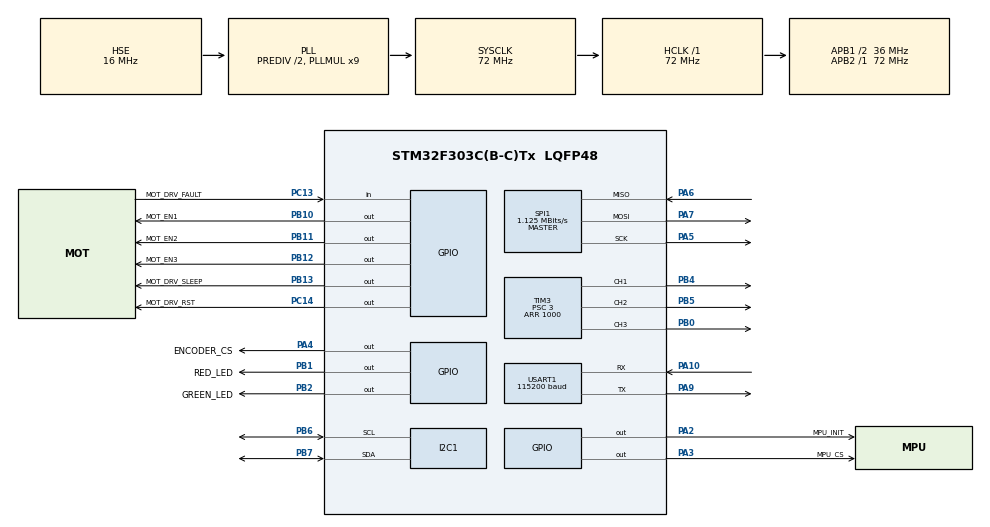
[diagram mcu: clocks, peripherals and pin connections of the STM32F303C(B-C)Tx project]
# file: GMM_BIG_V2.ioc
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Dma.I2C1_RX.2.Direction=DMA_PERIPH_TO_MEMORY
Dma.I2C1_RX.2.Instance=DMA1_Channel7
Dma.I2C1_RX.2.MemDataAlignment=DMA_MDATAALIGN_BYTE
Dma.I2C1_RX.2.MemInc=DMA_MINC_ENABLE
Dma.I2C1_RX.2.Mode=DMA_NORMAL
Dma.I2C1_RX.2.PeriphDataAlignment=DMA_PDATAALIGN_BYTE
Dma.I2C1_RX.2.PeriphInc=DMA_PINC_DISABLE
Dma.I2C1_RX.2.Priority=DMA_PRIORITY_MEDIUM
Dma.I2C1_TX.3.Direction=DMA_MEMORY_TO_PERIPH
Dma.I2C1_TX.3.Instance=DMA1_Channel6
Dma.I2C1_TX.3.MemDataAlignment=DMA_MDATAALIGN_BYTE
Dma.I2C1_TX.3.MemInc=DMA_MINC_ENABLE
Dma.I2C1_TX.3.Mode=DMA_NORMAL
Dma.I2C1_TX.3.PeriphDataAlignment=DMA_PDATAALIGN_BYTE
Dma.I2C1_TX.3.PeriphInc=DMA_PINC_DISABLE
Dma.I2C1_TX.3.Priority=DMA_PRIORITY_MEDIUM
Dma.Request0=SPI1_RX
Dma.Request1=SPI1_TX
Dma.Request2=I2C1_RX
Dma.Request3=I2C1_TX
Dma.Request4=USART1_RX
Dma.SPI1_RX.0.Direction=DMA_PERIPH_TO_MEMORY
Dma.SPI1_RX.0.Instance=DMA1_Channel2
Dma.SPI1_RX.0.MemDataAlignment=DMA_MDATAALIGN_HALFWORD
Dma.SPI1_RX.0.MemInc=DMA_MINC_ENABLE
Dma.SPI1_RX.0.Mode=DMA_NORMAL
Dma.SPI1_RX.0.PeriphDataAlignment=DMA_PDATAALIGN_HALFWORD
Dma.SPI1_RX.0.PeriphInc=DMA_PINC_DISABLE
Dma.SPI1_RX.0.Priority=DMA_PRIORITY_MEDIUM
Dma.SPI1_TX.1.Direction=DMA_MEMORY_TO_PERIPH
Dma.SPI1_TX.1.Instance=DMA1_Channel3
Dma.SPI1_TX.1.MemDataAlignment=DMA_MDATAALIGN_HALFWORD
Dma.SPI1_TX.1.MemInc=DMA_MINC_ENABLE
Dma.SPI1_TX.1.Mode=DMA_NORMAL
Dma.SPI1_TX.1.PeriphDataAlignment=DMA_PDATAALIGN_HALFWORD
Dma.SPI1_TX.1.PeriphInc=DMA_PINC_DISABLE
Dma.SPI1_TX.1.Priority=DMA_PRIORITY_MEDIUM
Dma.USART1_RX.4.Direction=DMA_PERIPH_TO_MEMORY
Dma.USART1_RX.4.Instance=DMA1_Channel5
Dma.USART1_RX.4.MemDataAlignment=DMA_MDATAALIGN_BYTE
Dma.USART1_RX.4.MemInc=DMA_MINC_ENABLE
Dma.USART1_RX.4.Mode=DMA_NORMAL
Dma.USART1_RX.4.PeriphDataAlignment=DMA_PDATAALIGN_BYTE
Dma.USART1_RX.4.PeriphInc=DMA_PINC_DISABLE
Dma.USART1_RX.4.Priority=DMA_PRIORITY_MEDIUM
FREERTOS.Tasks01=defaultTask,0,128,StartDefaultTask,Default,NULL,Dynamic,NULL,NULL
FREERTOS.Timers01=BroadcastTimer,BroadcastTimer_Callback,osTimerPeriodic,Default,NULL,Static,BroadcastTimerControlBlock
FREERTOS.configUSE_TIMERS=1
Mcu.Family=STM32F3
Mcu.Name=STM32F303C(B-C)Tx
Mcu.Package=LQFP48
NVIC.DMA1_Channel2_IRQn=true\:0\:0\:false\:false\:true\:true\:false\:true
NVIC.DMA1_Channel3_IRQn=true\:0\:0\:false\:false\:true\:true\:false\:true
NVIC.DMA1_Channel5_IRQn=true\:0\:0\:false\:false\:true\:true\:false\:true
NVIC.DMA1_Channel6_IRQn=true\:0\:0\:false\:false\:true\:true\:false\:true
NVIC.DMA1_Channel7_IRQn=true\:0\:0\:false\:false\:true\:true\:false\:true
NVIC.I2C1_ER_IRQn=true\:0\:0\:false\:false\:true\:true\:true\:true
NVIC.I2C1_EV_IRQn=true\:0\:0\:false\:false\:true\:true\:true\:true
NVIC.PriorityGroup=NVIC_PRIORITYGROUP_4
NVIC.SPI1_IRQn=true\:0\:0\:false\:false\:true\:true\:true\:true
NVIC.TIM1_UP_TIM16_IRQn=true\:0\:0\:false\:false\:true\:false\:false\:true
NVIC.TIM4_IRQn=true\:0\:0\:false\:false\:true\:true\:true\:true
NVIC.TimeBase=TIM1_UP_TIM16_IRQn
NVIC.TimeBaseIP=TIM1
NVIC.USART1_IRQn=true\:0\:0\:false\:false\:true\:true\:true\:true
PA10.Mode=Asynchronous
PA10.Signal=USART1_RX
PA13.Mode=Serial_Wire
PA13.Signal=SYS_JTMS-SWDIO
PA14.Mode=Serial_Wire
PA14.Signal=SYS_JTCK-SWCLK
PA2.GPIO_Label=MPU_INIT
PA2.Signal=GPIO_Output
PA3.GPIO_Label=MPU_CS
PA3.Signal=GPIO_Output
PA4.GPIO_Label=ENCODER_CS
PA4.Signal=GPIO_Output
PA5.Mode=Full_Duplex_Master
PA5.Signal=SPI1_SCK
PA6.Mode=Full_Duplex_Master
PA6.Signal=SPI1_MISO
PA7.Mode=Full_Duplex_Master
PA7.Signal=SPI1_MOSI
PA9.Mode=Asynchronous
PA9.Signal=USART1_TX
PB0.Signal=S_TIM3_CH3
PB1.GPIO_Label=RED_LED
PB1.Signal=GPIO_Output
PB10.GPIO_Label=MOT_EN1
PB10.Signal=GPIO_Output
PB11.GPIO_Label=MOT_EN2
PB11.Signal=GPIO_Output
PB12.GPIO_Label=MOT_EN3
PB12.Signal=GPIO_Output
PB13.GPIO_Label=MOT_DRV_SLEEP
PB13.Signal=GPIO_Output
PB2.GPIO_Label=GREEN_LED
PB2.Signal=GPIO_Output
PB4.Signal=S_TIM3_CH1
PB5.Signal=S_TIM3_CH2
PB6.Mode=I2C
PB6.Signal=I2C1_SCL
PB7.Mode=I2C
PB7.Signal=I2C1_SDA
PC13.GPIO_Label=MOT_DRV_FAULT
PC13.Signal=GPIO_Input
PC14-OSC32_IN.GPIO_Label=MOT_DRV_RST
PC14-OSC32_IN.Signal=GPIO_Output
PF0-OSC_IN.Mode=HSE-External-Oscillator
PF0-OSC_IN.Signal=RCC_OSC_IN
PF1-OSC_OUT.Mode=HSE-External-Oscillator
PF1-OSC_OUT.Signal=RCC_OSC_OUT
ProjectManager.HeapSize=0x200
ProjectManager.StackSize=0x400
ProjectManager.TargetToolchain=STM32CubeIDE
RCC.AHBFreq_Value=72000000
RCC.APB1CLKDivider=RCC_HCLK_DIV2
RCC.APB1Freq_Value=36000000
RCC.APB1TimFreq_Value=72000000
RCC.APB2Freq_Value=72000000
RCC.APB2TimFreq_Value=72000000
RCC.CortexFreq_Value=72000000
RCC.HCLKFreq_Value=72000000
RCC.HSE_VALUE=16000000
RCC.HSI_VALUE=8000000
RCC.LSE_VALUE=32768
RCC.PLLMUL=RCC_PLL_MUL9
RCC.PLLSourceVirtual=RCC_PLLSOURCE_HSE
RCC.RCC_PLLsource_Clock_Source_FROM_HSE=RCC_HSE_PREDIV_DIV2
RCC.SYSCLKFreq_VALUE=72000000
RCC.SYSCLKSourceVirtual=RCC_SYSCLKSOURCE_PLLCLK
RCC.USBFreq_Value=72000000
SH.S_TIM3_CH1.0=TIM3_CH1,PWM Generation1 CH1
SH.S_TIM3_CH2.0=TIM3_CH2,PWM Generation2 CH2
SH.S_TIM3_CH3.0=TIM3_CH3,PWM Generation3 CH3
SPI1.BaudRatePrescaler=SPI_BAUDRATEPRESCALER_64
SPI1.CLKPhase=SPI_PHASE_2EDGE
SPI1.CalculateBaudRate=1.125 MBits/s
SPI1.DataSize=SPI_DATASIZE_16BIT
SPI1.Direction=SPI_DIRECTION_2LINES
SPI1.Mode=SPI_MODE_MASTER
SPI1.VirtualType=VM_MASTER
TIM3.Channel-PWM\ Generation1\ CH1=TIM_CHANNEL_1
TIM3.Channel-PWM\ Generation2\ CH2=TIM_CHANNEL_2
TIM3.Channel-PWM\ Generation3\ CH3=TIM_CHANNEL_3
TIM3.Period=1000
TIM3.Prescaler=3
TIM4.Period=0xffff
TIM4.Prescaler=71
USART1.BaudRate=115200
USART1.VirtualMode-Asynchronous=VM_ASYNC
VP_FREERTOS_VS_CMSIS_V1.Mode=CMSIS_V1
VP_SYS_VS_tim1.Mode=TIM1
VP_TIM3_VS_ClockSourceINT.Mode=Internal
VP_TIM4_VS_ClockSourceINT.Mode=Internal
board=custom

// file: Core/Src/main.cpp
/* USER CODE BEGIN Header */
/**
  ******************************************************************************
  * @file           : main.c
  * @brief          : Main program body
  ******************************************************************************
  * @attention
  *
  * <h2><center>&copy; Copyright (c) 2020 STMicroelectronics.
  * All rights reserved.</center></h2>
  *
  * This software component is licensed by ST under Ultimate Liberty license
  * SLA0044, the "License"; You may not use this file except in compliance with
  * the License. You may obtain a copy of the License at:
  *                             www.st.com/SLA0044
  *
  ******************************************************************************
  */
/* USER CODE END Header */

#include "main.h"
#include "cmsis_os.h"

/* USER CODE BEGIN Includes */

/**
 * @brief UAVCAN headers
 */
#include <uavcan_stm32/uavcan_stm32.hpp>
#include <uavcan/uavcan.hpp>

#include <uavcan/protocol/param_server.hpp>

#include <msg/MotorStatus.hpp>
#include <msg/MotorCommand.hpp>

#include "as5048a.h"
/* USER CODE END Includes */

/* USER CODE BEGIN PD */
#define MAIN_EVENT_SAVE_CONFIG	( 1 << 0 )
#define MAIN_EVENT_BROADCAST    ( 1 << 1 )
/* USER CODE END PD */

I2C_HandleTypeDef hi2c1;
DMA_HandleTypeDef hdma_i2c1_rx;
DMA_HandleTypeDef hdma_i2c1_tx;

SPI_HandleTypeDef hspi1;
DMA_HandleTypeDef hdma_spi1_rx;
DMA_HandleTypeDef hdma_spi1_tx;

TIM_HandleTypeDef htim3;
TIM_HandleTypeDef htim4;

UART_HandleTypeDef huart1;
DMA_HandleTypeDef hdma_usart1_rx;

osThreadId defaultTaskHandle;
osTimerId BroadcastTimerHandle;
osStaticTimerDef_t BroadcastTimerControlBlock;
/* USER CODE BEGIN PV */
/* Declare a variable to hold the handle of the created event group. */
EventGroupHandle_t xMainEventGroupHandle;

/* Declare a variable to hold the data associated with the created
event group. */
StaticEventGroup_t xMainEventGroup;
/* USER CODE END PV */

void SystemClock_Config(void);
static void MX_GPIO_Init(void);
static void MX_DMA_Init(void);
static void MX_I2C1_Init(void);
static void MX_SPI1_Init(void);
static void MX_TIM3_Init(void);
static void MX_TIM4_Init(void);
static void MX_USART1_UART_Init(void);
void StartDefaultTask(void const * argument);
void BroadcastTimer_Callback(void const * argument);

/* USER CODE BEGIN 0 */

/**
 * @brief Initialization of UAVCAN Parameters structure
 * @note for first time flash board strore initial parameters in the memory and change them while you need them
 */
struct Parameters configuration = {false, 1, 2.0f, false, 7, 1, 0.2f, 20.0f, 1000.0f, 0.01f, 0.0f, 0, 5};

/**
 * @brief NDEBUG for SWO IDE debuging
 */
/*
#ifndef NDEBUG // Set up printf over SWO (use SWV ITM Viewer window)
  // https://github.com/ethanhuanginst/STM32CubeIDE-Workshop-2019/blob/master/hands-on/03_printf/printf_over_swo.md
  #ifdef __GNUC__
    #define PUTCHAR_PROTOTYPE int __io_putchar(int ch)
  #else
    #define PUTCHAR_PROTOTYPE int fputc(int ch, FILE *f)
  #endif // __GNUC__
  */
/**
 * @brief Retargets the C library printf function to the USART.
 * @param None
 * @retval None
 */
/*
  PUTCHAR_PROTOTYPE {
    //HAL_UART_Transmit(&huart1, (uint8_t *)&ch, 1, 0xFFFF);
      ITM_SendChar((uint32_t)ch);
    return ch;
  }
#endif
*/

/**
 * @brief Retargets the C library printf function to the USART.
 */
#ifdef __GNUC__
	#define PUTCHAR_PROTOTYPE int __io_putchar(int ch)
#else
	#define PUTCHAR_PROTOTYPE int std::fputc(int ch, FILE *f)
#endif /* __GNUC__ */

#ifdef __cplusplus
 extern "C" {
#endif
PUTCHAR_PROTOTYPE {
	/* Place your implementation of fputc here */
    /* e.g. write a character to the USART2 and Loop until the end of transmission */
    HAL_UART_Transmit(&huart1, (uint8_t *)&ch, 1, 0xFFFF);
    return ch;
}
#ifdef __cplusplus
}
#endif

/**
 * @brief Static thread for UAVCAN.
 * @note check in the main for a new thread call function
 */
#define CAN_THRAD_STACK_SIZE 1024
uint32_t defaultTaskBuffer[ CAN_THRAD_STACK_SIZE ];
osStaticThreadDef_t defaultTaskControlBlock;
#define CAN_STACK_SIZE 1024
uint32_t defaultTaskBuffer1[ CAN_STACK_SIZE ];
osStaticThreadDef_t defaultTaskControlBlock1;
/**
 * @brief AS5048A Magnetic encoder constructor
 * @param - SPI reference
 * @param - CS pin port
 * @param - CS pin number
 * @param - Timer reference for miliseconds
 */
AS5048A angleSensor(&hspi1, GPIOA, GPIO_PIN_4, &htim4);

/**
 * @brief TI DRV8313 and Field Orientation Control method constructor
 * @note Initial motor 11 poles pairs
 * @param - initial pole number
 * @param - Motor PWM timer reference
 * @note  - Hard coded Motor Driver Enable and Disable. Different drivers uses different approach to enable PWM's.
 * @note Motor Control thread declaration
 */
BLDCMotor myBLDC(&htim3, &htim4); //motor pole number
void StartMotorTask(void const * argument);

/**
 *	@brief Motor Calibration. Finding number of poles
 *	@note Founded pole number is written into EEPROM for the UAVCAN param usage
 */
osThreadId MotorCalibrateTaskHandle;
void StartMotorCalibrateTask(void const * argument);

/**
 *	@brief EEPROM memory constructor
 */
EEPROM myEEPROM(&hi2c1);

/**
 *	@brief INA226 voltage, current and power measurement constructor
 */
//INA226 myINA226(&hi2c1);

/**
 *	@brief UAVCAN pool inicialization with 8192 memory
 */
constexpr unsigned NodePoolSize = 8192;
uavcan_stm32::CanInitHelper<> can;
uavcan::Node<NodePoolSize>& getNode() {
    static uavcan::Node<NodePoolSize> node(can.driver, uavcan_stm32::SystemClock::instance());
    return node;
}

/**
 * @brief Converting float to Uint8_t and back
 */
typedef union
{
 float number;
 uint8_t bytes[4];
} FLOATUNION_t;

FLOATUNION_t num[6];

/**
 * @brief CAN Status SPIN thread
 */
void StartCANStatusTask(void const * argument);

/**
 *	@brief UART receiver callback for testing values acceptance
 *	@note At final version will be removed
 *	@note Accepts as HEX and only integer values. HEX 30 -> 0, HEX 31 -> 1, HEX 2F -> -1 and etc.
 *
 */
/*
uint8_t str[1];
float target_voltage = 4;
uint8_t update_target = 0;
void HAL_UART_RxCpltCallback(UART_HandleTypeDef *huart) {
	if(huart->Instance==USART1) {
		HAL_UART_Receive_DMA(&huart1, (uint8_t*) str, 1);
		target_voltage = str[0]-'0';
		update_target = 1;
	}
}
*/

/* USER CODE END 0 */

int main(void)
{

  /* MCU Configuration--------------------------------------------------------*/

  /* Reset of all peripherals, Initializes the Flash interface and the Systick. */
  HAL_Init();

  /* Configure the system clock */
  SystemClock_Config();

  /* Initialize all configured peripherals */
  MX_GPIO_Init();
  MX_DMA_Init();
  MX_I2C1_Init();
  MX_SPI1_Init();
  MX_TIM3_Init();
  MX_TIM4_Init();
  MX_USART1_UART_Init();
  /* USER CODE BEGIN 2 */

  /**
   * @brief Timer initialization for microsecond tics
   */
  HAL_TIM_Base_Start_IT(&htim4);

  /**
   * @brief CAN ports initialization for the UAVCAN
   * @note It is prohibited to use direct HALCubeMX configurattion
   *
   * @note CAN1 GPIO Configuration
   * @note PB8     ------> CAN1_RX
   * @note PB9     ------> CAN1_TX
   */
  GPIO_InitTypeDef GPIO_InitStruct = {0};

  __HAL_RCC_CAN1_CLK_ENABLE();
  __HAL_RCC_GPIOB_CLK_ENABLE();

  GPIO_InitStruct.Pin = GPIO_PIN_8|GPIO_PIN_9;
  GPIO_InitStruct.Mode = GPIO_MODE_AF_PP;
  GPIO_InitStruct.Pull = GPIO_NOPULL;
  GPIO_InitStruct.Speed = GPIO_SPEED_FREQ_HIGH;
  GPIO_InitStruct.Alternate = GPIO_AF9_CAN;
  HAL_GPIO_Init(GPIOB, &GPIO_InitStruct);

  /**
   *  @brief Initial GPIO ports SET high for the SPI usage
   *  @note MPU9250 blocks Encoder usage if it's CS pin is not set to high
   */
  HAL_GPIO_WritePin(ENCODER_CS_GPIO_Port, ENCODER_CS_Pin, GPIO_PIN_SET);
  HAL_GPIO_WritePin(MPU_CS_GPIO_Port, MPU_CS_Pin, GPIO_PIN_SET);
  HAL_GPIO_WritePin(MPU_INIT_GPIO_Port, MPU_INIT_Pin, GPIO_PIN_RESET);

  /* USER CODE END 2 */

  /* Create the timer(s) */
  /* definition and creation of BroadcastTimer */
  osTimerStaticDef(BroadcastTimer, BroadcastTimer_Callback, &BroadcastTimerControlBlock);
  BroadcastTimerHandle = osTimerCreate(osTimer(BroadcastTimer), osTimerPeriodic, NULL);

  /* Create the thread(s) */
  /* definition and creation of defaultTask */

  /* Attempt to create the event group. */
  xMainEventGroupHandle = xEventGroupCreateStatic( &xMainEventGroup );

  /* pxEventGroupBuffer was not null so expect the event group to have
  been created? */
  configASSERT( xMainEventGroupHandle );

  /**
   * @brief Static thread for UAVCAN.
   * @note old one left as example
   */
  //osThreadDef(defaultTask, StartDefaultTask, osPriorityNormal, 0, 128);
  osThreadStaticDef(defaultTask, StartDefaultTask, osPriorityNormal, 0, CAN_THRAD_STACK_SIZE, defaultTaskBuffer, &defaultTaskControlBlock);
  defaultTaskHandle = osThreadCreate(osThread(defaultTask), NULL);

  /* Start scheduler */
  osKernelStart();

  /* We should never get here as control is now taken by the scheduler */
  /* Infinite loop */
  while (1)
  {

  }
}

void SystemClock_Config(void)
{
  RCC_OscInitTypeDef RCC_OscInitStruct = {0};
  RCC_ClkInitTypeDef RCC_ClkInitStruct = {0};
  RCC_PeriphCLKInitTypeDef PeriphClkInit = {0};

  /** Initializes the RCC Oscillators according to the specified parameters
  * in the RCC_OscInitTypeDef structure.
  */
  RCC_OscInitStruct.OscillatorType = RCC_OSCILLATORTYPE_HSI|RCC_OSCILLATORTYPE_HSE;
  RCC_OscInitStruct.HSEState = RCC_HSE_ON;
  RCC_OscInitStruct.HSEPredivValue = RCC_HSE_PREDIV_DIV2;
  RCC_OscInitStruct.HSIState = RCC_HSI_ON;
  RCC_OscInitStruct.HSICalibrationValue = RCC_HSICALIBRATION_DEFAULT;
  RCC_OscInitStruct.PLL.PLLState = RCC_PLL_ON;
  RCC_OscInitStruct.PLL.PLLSource = RCC_PLLSOURCE_HSE;
  RCC_OscInitStruct.PLL.PLLMUL = RCC_PLL_MUL9;
  if (HAL_RCC_OscConfig(&RCC_OscInitStruct) != HAL_OK)
  {
    Error_Handler();
  }
  /** Initializes the CPU, AHB and APB buses clocks
  */
  RCC_ClkInitStruct.ClockType = RCC_CLOCKTYPE_HCLK|RCC_CLOCKTYPE_SYSCLK
                              |RCC_CLOCKTYPE_PCLK1|RCC_CLOCKTYPE_PCLK2;
  RCC_ClkInitStruct.SYSCLKSource = RCC_SYSCLKSOURCE_PLLCLK;
  RCC_ClkInitStruct.AHBCLKDivider = RCC_SYSCLK_DIV1;
  RCC_ClkInitStruct.APB1CLKDivider = RCC_HCLK_DIV2;
  RCC_ClkInitStruct.APB2CLKDivider = RCC_HCLK_DIV1;

  if (HAL_RCC_ClockConfig(&RCC_ClkInitStruct, FLASH_LATENCY_2) != HAL_OK)
  {
    Error_Handler();
  }
  PeriphClkInit.PeriphClockSelection = RCC_PERIPHCLK_USART1|RCC_PERIPHCLK_I2C1;
  PeriphClkInit.Usart1ClockSelection = RCC_USART1CLKSOURCE_PCLK2;
  PeriphClkInit.I2c1ClockSelection = RCC_I2C1CLKSOURCE_HSI;
  if (HAL_RCCEx_PeriphCLKConfig(&PeriphClkInit) != HAL_OK)
  {
    Error_Handler();
  }
}

static void MX_I2C1_Init(void)
{

  hi2c1.Instance = I2C1;
  hi2c1.Init.Timing = 0x2000090E;
  hi2c1.Init.OwnAddress1 = 0;
  hi2c1.Init.AddressingMode = I2C_ADDRESSINGMODE_7BIT;
  hi2c1.Init.DualAddressMode = I2C_DUALADDRESS_DISABLE;
  hi2c1.Init.OwnAddress2 = 0;
  hi2c1.Init.OwnAddress2Masks = I2C_OA2_NOMASK;
  hi2c1.Init.GeneralCallMode = I2C_GENERALCALL_DISABLE;
  hi2c1.Init.NoStretchMode = I2C_NOSTRETCH_DISABLE;
  if (HAL_I2C_Init(&hi2c1) != HAL_OK)
  {
    Error_Handler();
  }
  /** Configure Analogue filter
  */
  if (HAL_I2CEx_ConfigAnalogFilter(&hi2c1, I2C_ANALOGFILTER_ENABLE) != HAL_OK)
  {
    Error_Handler();
  }
  /** Configure Digital filter
  */
  if (HAL_I2CEx_ConfigDigitalFilter(&hi2c1, 0) != HAL_OK)
  {
    Error_Handler();
  }

}

static void MX_SPI1_Init(void)
{

  /* SPI1 parameter configuration*/
  hspi1.Instance = SPI1;
  hspi1.Init.Mode = SPI_MODE_MASTER;
  hspi1.Init.Direction = SPI_DIRECTION_2LINES;
  hspi1.Init.DataSize = SPI_DATASIZE_16BIT;
  hspi1.Init.CLKPolarity = SPI_POLARITY_LOW;
  hspi1.Init.CLKPhase = SPI_PHASE_2EDGE;
  hspi1.Init.NSS = SPI_NSS_SOFT;
  hspi1.Init.BaudRatePrescaler = SPI_BAUDRATEPRESCALER_64;
  hspi1.Init.FirstBit = SPI_FIRSTBIT_MSB;
  hspi1.Init.TIMode = SPI_TIMODE_DISABLE;
  hspi1.Init.CRCCalculation = SPI_CRCCALCULATION_DISABLE;
  hspi1.Init.CRCPolynomial = 7;
  hspi1.Init.CRCLength = SPI_CRC_LENGTH_DATASIZE;
  hspi1.Init.NSSPMode = SPI_NSS_PULSE_DISABLE;
  if (HAL_SPI_Init(&hspi1) != HAL_OK)
  {
    Error_Handler();
  }

}

static void MX_TIM3_Init(void)
{

  TIM_ClockConfigTypeDef sClockSourceConfig = {0};
  TIM_MasterConfigTypeDef sMasterConfig = {0};
  TIM_OC_InitTypeDef sConfigOC = {0};

  htim3.Instance = TIM3;
  htim3.Init.Prescaler = 3;
  htim3.Init.CounterMode = TIM_COUNTERMODE_UP;
  htim3.Init.Period = 1000;
  htim3.Init.ClockDivision = TIM_CLOCKDIVISION_DIV1;
  htim3.Init.AutoReloadPreload = TIM_AUTORELOAD_PRELOAD_DISABLE;
  if (HAL_TIM_Base_Init(&htim3) != HAL_OK)
  {
    Error_Handler();
  }
  sClockSourceConfig.ClockSource = TIM_CLOCKSOURCE_INTERNAL;
  if (HAL_TIM_ConfigClockSource(&htim3, &sClockSourceConfig) != HAL_OK)
  {
    Error_Handler();
  }
  if (HAL_TIM_PWM_Init(&htim3) != HAL_OK)
  {
    Error_Handler();
  }
  sMasterConfig.MasterOutputTrigger = TIM_TRGO_RESET;
  sMasterConfig.MasterSlaveMode = TIM_MASTERSLAVEMODE_DISABLE;
  if (HAL_TIMEx_MasterConfigSynchronization(&htim3, &sMasterConfig) != HAL_OK)
  {
    Error_Handler();
  }
  sConfigOC.OCMode = TIM_OCMODE_PWM1;
  sConfigOC.Pulse = 0;
  sConfigOC.OCPolarity = TIM_OCPOLARITY_HIGH;
  sConfigOC.OCFastMode = TIM_OCFAST_DISABLE;
  if (HAL_TIM_PWM_ConfigChannel(&htim3, &sConfigOC, TIM_CHANNEL_1) != HAL_OK)
  {
    Error_Handler();
  }
  if (HAL_TIM_PWM_ConfigChannel(&htim3, &sConfigOC, TIM_CHANNEL_2) != HAL_OK)
  {
    Error_Handler();
  }
  if (HAL_TIM_PWM_ConfigChannel(&htim3, &sConfigOC, TIM_CHANNEL_3) != HAL_OK)
  {
    Error_Handler();
  }
  HAL_TIM_MspPostInit(&htim3);

}

static void MX_TIM4_Init(void)
{

  TIM_ClockConfigTypeDef sClockSourceConfig = {0};
  //TIM_MasterConfigTypeDef sMasterConfig = {0};

  /* USER CODE BEGIN TIM4_Init 1 */

  /**
   * @brief Timer configuration for the microsecond tics
   * @note 72 Prescaler as APB is configured for 72
   * @note MAX_UINT16_NUMBER uses 0XFFFF from AS5048A.h
   * @note some lines are commented from generated by STMCubeMX
   *   //sMasterConfig.MasterOutputTrigger = TIM_TRGO_RESET;
   *   //sMasterConfig.MasterSlaveMode = TIM_MASTERSLAVEMODE_DISABLE;
   *   //if (HAL_TIMEx_MasterConfigSynchronization(&htim4, &sMasterConfig) != HAL_OK)
   *   //{
   *   //  Error_Handler();
   *   //}
   */

  /* USER CODE END TIM4_Init 1 */
  htim4.Instance = TIM4;
  htim4.Init.Prescaler = 72;
  htim4.Init.CounterMode = TIM_COUNTERMODE_UP;
  htim4.Init.Period = MAX_UINT16_NUMBER;
  htim4.Init.ClockDivision = TIM_CLOCKDIVISION_DIV1;
  htim4.Init.AutoReloadPreload = TIM_AUTORELOAD_PRELOAD_DISABLE;
  if (HAL_TIM_Base_Init(&htim4) != HAL_OK)
  {
    Error_Handler();
  }
  sClockSourceConfig.ClockSource = TIM_CLOCKSOURCE_INTERNAL;
  if (HAL_TIM_ConfigClockSource(&htim4, &sClockSourceConfig) != HAL_OK)
  {
    Error_Handler();
  }
  //sMasterConfig.MasterOutputTrigger = TIM_TRGO_RESET;
  //sMasterConfig.MasterSlaveMode = TIM_MASTERSLAVEMODE_DISABLE;
  //if (HAL_TIMEx_MasterConfigSynchronization(&htim4, &sMasterConfig) != HAL_OK)
  //{
  //  Error_Handler();
  //}

}

static void MX_USART1_UART_Init(void)
{

  huart1.Instance = USART1;
  huart1.Init.BaudRate = 115200;
  huart1.Init.WordLength = UART_WORDLENGTH_8B;
  huart1.Init.StopBits = UART_STOPBITS_1;
  huart1.Init.Parity = UART_PARITY_NONE;
  huart1.Init.Mode = UART_MODE_TX_RX;
  huart1.Init.HwFlowCtl = UART_HWCONTROL_NONE;
  huart1.Init.OverSampling = UART_OVERSAMPLING_16;
  huart1.Init.OneBitSampling = UART_ONE_BIT_SAMPLE_DISABLE;
  huart1.AdvancedInit.AdvFeatureInit = UART_ADVFEATURE_NO_INIT;
  if (HAL_UART_Init(&huart1) != HAL_OK)
  {
    Error_Handler();
  }

}

static void MX_DMA_Init(void)
{

  /* DMA controller clock enable */
  __HAL_RCC_DMA1_CLK_ENABLE();

  /* DMA interrupt init */
  /* DMA1_Channel2_IRQn interrupt configuration */
  HAL_NVIC_SetPriority(DMA1_Channel2_IRQn, 5, 0);
  HAL_NVIC_EnableIRQ(DMA1_Channel2_IRQn);
  /* DMA1_Channel3_IRQn interrupt configuration */
  HAL_NVIC_SetPriority(DMA1_Channel3_IRQn, 5, 0);
  HAL_NVIC_EnableIRQ(DMA1_Channel3_IRQn);
  /* DMA1_Channel5_IRQn interrupt configuration */
  HAL_NVIC_SetPriority(DMA1_Channel5_IRQn, 5, 0);
  HAL_NVIC_EnableIRQ(DMA1_Channel5_IRQn);
  /* DMA1_Channel6_IRQn interrupt configuration */
  HAL_NVIC_SetPriority(DMA1_Channel6_IRQn, 5, 0);
  HAL_NVIC_EnableIRQ(DMA1_Channel6_IRQn);
  /* DMA1_Channel7_IRQn interrupt configuration */
  HAL_NVIC_SetPriority(DMA1_Channel7_IRQn, 5, 0);
  HAL_NVIC_EnableIRQ(DMA1_Channel7_IRQn);

}

static void MX_GPIO_Init(void)
{
  GPIO_InitTypeDef GPIO_InitStruct = {0};

  /* GPIO Ports Clock Enable */
  __HAL_RCC_GPIOC_CLK_ENABLE();
  __HAL_RCC_GPIOF_CLK_ENABLE();
  __HAL_RCC_GPIOA_CLK_ENABLE();
  __HAL_RCC_GPIOB_CLK_ENABLE();

  /*Configure GPIO pin Output Level */
  HAL_GPIO_WritePin(MOT_DRV_RST_GPIO_Port, MOT_DRV_RST_Pin, GPIO_PIN_RESET);

  /*Configure GPIO pin Output Level */
  HAL_GPIO_WritePin(GPIOA, MPU_INIT_Pin|MPU_CS_Pin|ENCODER_CS_Pin, GPIO_PIN_RESET);

  /*Configure GPIO pin Output Level */
  HAL_GPIO_WritePin(GPIOB, RED_LED_Pin|GREEN_LED_Pin|MOT_EN1_Pin|MOT_EN2_Pin
                          |MOT_EN3_Pin|MOT_DRV_SLEEP_Pin, GPIO_PIN_RESET);

  /*Configure GPIO pin : MOT_DRV_FAULT_Pin */
  GPIO_InitStruct.Pin = MOT_DRV_FAULT_Pin;
  GPIO_InitStruct.Mode = GPIO_MODE_INPUT;
  GPIO_InitStruct.Pull = GPIO_NOPULL;
  HAL_GPIO_Init(MOT_DRV_FAULT_GPIO_Port, &GPIO_InitStruct);

  /*Configure GPIO pin : MOT_DRV_RST_Pin */
  GPIO_InitStruct.Pin = MOT_DRV_RST_Pin;
  GPIO_InitStruct.Mode = GPIO_MODE_OUTPUT_PP;
  GPIO_InitStruct.Pull = GPIO_NOPULL;
  GPIO_InitStruct.Speed = GPIO_SPEED_FREQ_LOW;
  HAL_GPIO_Init(MOT_DRV_RST_GPIO_Port, &GPIO_InitStruct);

  /*Configure GPIO pins : MPU_INIT_Pin MPU_CS_Pin ENCODER_CS_Pin */
  GPIO_InitStruct.Pin = MPU_INIT_Pin|MPU_CS_Pin|ENCODER_CS_Pin;
  GPIO_InitStruct.Mode = GPIO_MODE_OUTPUT_PP;
  GPIO_InitStruct.Pull = GPIO_NOPULL;
  GPIO_InitStruct.Speed = GPIO_SPEED_FREQ_LOW;
  HAL_GPIO_Init(GPIOA, &GPIO_InitStruct);

  /*Configure GPIO pins : RED_LED_Pin GREEN_LED_Pin MOT_EN1_Pin MOT_EN2_Pin
                           MOT_EN3_Pin MOT_DRV_SLEEP_Pin */
  GPIO_InitStruct.Pin = RED_LED_Pin|GREEN_LED_Pin|MOT_EN1_Pin|MOT_EN2_Pin
                          |MOT_EN3_Pin|MOT_DRV_SLEEP_Pin;
  GPIO_InitStruct.Mode = GPIO_MODE_OUTPUT_PP;
  GPIO_InitStruct.Pull = GPIO_NOPULL;
  GPIO_InitStruct.Speed = GPIO_SPEED_FREQ_LOW;
  HAL_GPIO_Init(GPIOB, &GPIO_InitStruct);

}

/* USER CODE BEGIN 4 */

/**
 *	@brief Motor Calibration. Finding number of poles
 *	@note Founded pole number is written into EEPROM for the UAVCAN param usage
 *	@note gives wrong value if crosses encoder 0 position. everything works while calculations between 0 and 2_PI
 */
void StartMotorCalibrateTask(void const * argument)
{
  /* USER CODE BEGIN 5 */
	/**
	 * @brief power supply voltage
	 * @note default 12V
	 */
	myBLDC.voltage_power_supply = 12;

	/**
	 * @brief Set FOC loop to be used
	 * @param voltage, velocity, angle
	 */
	myBLDC.controller = ControlType::voltage;
	/**
	 * @brief Set FOC Mathematical algoritm
	 * @note SinePWM or SpaceVectorPWM
	 */
	myBLDC.foc_modulation = FOCModulationType::SinePWM;

	/**
	 * @brief Enable AS5048A Encoder drivers
	 */
	angleSensor.init();

	/**
	 * @brieflink the motor to the sensor
	 * @param Encoder constructor name
	 */
	myBLDC.linkEncoder(&angleSensor);

	/**
	 * @brief Enable DRV8313 and FOC drivers
	 */
	myBLDC.init();

	// pole pairs calculation routine
	//if (DEBUG_MOTOR == 1) printf("Motor pole pair number estimation example\n");
	//if (DEBUG_MOTOR == 1) printf("---------------------------------------------\n");

	float pp_search_voltage = 4; // maximum power_supply_voltage/2

	LOOP:	//not so nice approach. Should be changed to while loop but I am lazy to initialize a pp variable to check condition
	float pp_search_angle = 6*M_PI; // search electrical angle to turn

	// move motor to the electrical angle 0
	myBLDC.setPhaseVoltage(pp_search_voltage,0);
	osDelay(1000);

	// read the sensor angle
	float angle_begin = angleSensor.getAngleInRad();
	osDelay(50);

	// move the motor slowly to the electrical angle pp_search_angle
	float motor_angle = 0;
	while(motor_angle <= pp_search_angle){
		motor_angle += 0.01;
		myBLDC.setPhaseVoltage(pp_search_voltage, motor_angle);
	}
	osDelay(1000);
	// read the sensor value for 180
	float angle_end = angleSensor.getAngleInRad();
	osDelay(50);
	// turn off the motor
	myBLDC.setPhaseVoltage(0,0);
	osDelay(1000);

	// calculate the pole pair number
	uint8_t pp = round((pp_search_angle)/(angle_end-angle_begin));
	taskENTER_CRITICAL();
	configuration.PoleNumber = pp;
	taskEXIT_CRITICAL();

	//if (DEBUG_MOTOR == 1) printf("Estimated pole pairs number is: %d\n", pp);
	//if (DEBUG_MOTOR == 1) printf("Electrical angle / Encoder angle = Pole pairs %f/%f=%f\n", pp_search_angle*180/M_PI, (angle_end-angle_begin)*180/M_PI, (pp_search_angle)/(angle_end-angle_begin));

	// a bit of debugging the result
	if(pp <= 0 ){
		//if (DEBUG_MOTOR == 1) printf("Pole pair number cannot be negative\n");
		//if (DEBUG_MOTOR == 1) printf(" - Try changing the search_voltage value or motor/sensor configuration.\n");
		goto LOOP; // try second time and it will work :)
	}else if(pp > 30){
		//if (DEBUG_MOTOR == 1) printf("Pole pair number very high, possible error.\n");
		goto LOOP; // try second time and it will work :)
	}

	/* Infinite loop */
	for(;;) {

		osDelay(1);
		osThreadTerminate(MotorCalibrateTaskHandle);
	}
}

/**
  * @brief Motor cCntrol Thread
  * @param None
  * @retval None
  */

void StartMotorTask(void const * argument)
{
  /* USER CODE BEGIN 5 */

	bool power = false;
	uint8_t CT = 1;
	uint8_t foc_mod = 0;
	float CV = 0;
	float angles = 0;

	/**
	 * @briefpower supply voltage
	 * @note default 12V
	 */
	myBLDC.voltage_power_supply = 12;

	/**
	 * @brief Enable AS5048A Encoder drivers
	 */
	angleSensor.init();

	/**
	 * @brieflink the motor to the sensor
	 * @param Encoder constructor name
	 */
	myBLDC.linkEncoder(&angleSensor);

	/**
	 * @brief Set FOC Mathematical algoritm
	 * @note SinePWM or SpaceVectorPWM
	 */
	taskENTER_CRITICAL();
	myBLDC.pole_pairs = configuration.PoleNumber;
	foc_mod = configuration.FOCModulation;
	angles = configuration.Angle;
	taskEXIT_CRITICAL();

	if (foc_mod == 0)
		myBLDC.foc_modulation = FOCModulationType::SinePWM;
	if (foc_mod == 1)
		myBLDC.foc_modulation = FOCModulationType::SpaceVectorPWM;

	/**
	 * @brief PI controller configuration based on the control type
	 * @note velocity PI controller parameters
	 */
	taskENTER_CRITICAL();
	myBLDC.PI_velocity.P = configuration.VEL_P; //0.2f;
	myBLDC.PI_velocity.I = configuration.VEL_I; //20.0f;
	myBLDC.PI_velocity.voltage_limit = configuration.VEL_U_RAMP; // 6; //default voltage_power_supply/2
	myBLDC.PI_velocity.voltage_ramp = 1000.0f;// jerk control using voltage voltage ramp

	/**
	 * @brief velocity low pass filtering
	 * @note the lower the less filtered
	 */
	myBLDC.LPF_velocity.Tf = configuration.VEL_FILTER_Tf; // 0.01f;
	taskEXIT_CRITICAL();

	/**
	 * @brief Enable DRV8313 and FOC drivers
	 */
	myBLDC.init();

	/**
	 * @brief align sensor and start FOC
	 */
	myBLDC.initFOC();

	//if (DEBUG_MOTOR == 1) printf("Motor ready.\n");
	//osDelay(10);
	//if (DEBUG_MOTOR == 1) printf("Set the target voltage using serial terminal: \n");
	//osDelay(1000);

	/**
	 * @brief fixed value for motor voltage, velocity or angle
	 */
	//float target_voltage = -3;

	/**
	 * @brief Start UART callback for first time to accept motor control parameters
	 * @note later Such receiver will be removed
	 */
	//HAL_UART_Receive_DMA(&huart1, (uint8_t *)str, 1);

	/**
	 * @brief Primary motor position
	 * @note 0.017 rad is 1 degree. It is some error range.
	 */
	while(angleSensor.getAngleInRad() > angles+0.017 || angleSensor.getAngleInRad() < angles-0.017)
	{
		myBLDC.controller = ControlType::angle;
		myBLDC.loopFOC();
		myBLDC.move(angles);
	}

	/* Infinite loop */

	for(;;) {

		//EventBits_t main_events = xEventGroupGetBits( xMainEventGroupHandle );
		taskENTER_CRITICAL();
		power = configuration.PowerOn;
		CT = configuration.ControlType;
		CV = configuration.ControlValue;
		taskEXIT_CRITICAL();

		if (power == true) {
			/**
			 * @brief Set FOC loop to be used
			 * @param voltage, velocity, angle
			 */

			if (CT == 0)
				myBLDC.controller = ControlType::voltage;
			if (CT == 1)
				myBLDC.controller = ControlType::velocity;
			if (CT == 2)
				myBLDC.controller = ControlType::angle;

			/**
			 * @brief print AS5048A Encoder data
			 */
			//#if (DEBUG_ENCODER == 1)
				//float rad = angleSensor.getAngleInRad();
				//float vel = angleSensor.getVelocity();
				//printf("Current Angle: %f rad\n", rad);
				//printf("Velocity: %f rad/s\n", vel);
			//#endif

			/**
			 * @brief iterative state calculation calculating angle
			 * @brief and setting FOC phase voltage
			 * @brief the faster you run this function the better
			 * @brief the best would be to be in ~10kHz range
			 */
			myBLDC.loopFOC();

			/**
			 * @brief iterative function setting the outer loop target
			 * @brief velocity, position or voltage
			 * @brief this function can be run at much lower frequency than loopFOC function
			 * @brief it can go as low as ~50Hz
			 * @brief the best would be to be in ~10kHz range
			 */
			/*
			if (update_target)
			{
			  update_target = 0;
			  if (DEBUG_MOTOR == 1) printf ("Voltage: %f\n", target_voltage);
			}
			 */

			myBLDC.move(CV);
		}
	}
}

void StartCANStatusTask(void const * argument){

	for(;;) {

		/*
		 * @brief Health control of the UAVCAN
		 * @param Integer value from timeout in milisoconds
		 */
		const int res = getNode().spin(uavcan::MonotonicDuration::fromMSec(500));
		if (res < 0) {
			//if (DEBUG_MAIN == 1) printf("UAVCAN spin fail\r\n");
			Error_Handler();
		}

	}
}

/* BroadcastTimer_Callback function */
void BroadcastTimer_Callback(void const * argument)
{
  /* USER CODE BEGIN BroadcastTimer_Callback */
  BaseType_t xHigherPriorityTaskWoken;
  xEventGroupSetBitsFromISR(xMainEventGroupHandle, MAIN_EVENT_BROADCAST, &xHigherPriorityTaskWoken);/* The bits being set. */
  /* USER CODE END BroadcastTimer_Callback */
}
/* USER CODE END 4 */

void StartDefaultTask(void const * argument)
{
  /* USER CODE BEGIN 5 */

	/**
	 * @brief CAN Speed value
	 */
	uint32_t value = 1000000;

	/*
	 * @brief Enable EEPROM
	 */
	myEEPROM.init();

	/**
	 * @brief Init I2C and INA226 drivers
	 * @param None
	 * @retval None
	 * @note Default INA226 I2C address is 0x40
	 */
	//myINA226.init();

	/**
	 * @brief Configure INA226
	 * @param avaraging - fixed values to use from 1 to 1024
	 * @param Bus_Conversion_Time - fixed values to use from 140us to 8244us
	 * @param Shunt_Conversion_Time - fixed values to use from 140us to 8244us
	 * @param Mode - fixed values check library enumerators
	 * @retval None
	 */
	//myINA226.configure(INA226_AVERAGES_1, INA226_BUS_CONV_TIME_1100US, INA226_SHUNT_CONV_TIME_1100US, INA226_MODE_SHUNT_BUS_CONT);

	/**
	 * @brief Calibrate INA226. Rshunt = 0.01 ohm, Max excepted current = 4A
	 * @param Resistor - Shunt resistor value anssembled on the PCB. From Electrical circuit.
	 * @param MAX_Current - MAX current which could flow through Shunt resistor. From Electrical circuit.
	 * @retval None
	 */
	//myINA226.calibrate(0.047, 3.5);

	/*
	 * @brief print configuration
	 */
	//myINA226.checkConfig();

	/**
	 * @brief CAN parameters initilisation for UAVCAN
	 * @param CAN speed value
	 * @retval None
	 */
	can.init(value);

	/**
	 * @brief Read data from EEPROM
	 * @param pos   - array or variable where readed data will be pushed
	 * @param start - start address in the momory in HEX format
	 * @param size  - Size of data to read sequentally
	 */

	uint8_t pos[31]={0};
	myEEPROM.readData(pos, 0x04, 31);

	taskENTER_CRITICAL();
	configuration.PowerOn = pos[0];
	configuration.ControlType = pos[1];
	num[0].bytes[0] = pos[2];
	num[0].bytes[1] = pos[3];
	num[0].bytes[2] = pos[4];
	num[0].bytes[3] = pos[5];
	configuration.ControlValue = num[0].number;
	configuration.Calibrate = pos[6];
	configuration.PoleNumber = pos[7];
	configuration.FOCModulation = pos[8];
	num[1].bytes[0] = pos[9];
	num[1].bytes[1] = pos[10];
	num[1].bytes[2] = pos[11];
	num[1].bytes[3] = pos[12];
	configuration.VEL_P = num[1].number ;
	num[2].bytes[0] = pos[13];
	num[2].bytes[1] = pos[14];
	num[2].bytes[2] = pos[15];
	num[2].bytes[3] = pos[16];
	configuration.VEL_I = num[2].number;
	num[3].bytes[0] = pos[17];
	num[3].bytes[1] = pos[18];
	num[3].bytes[2] = pos[19];
	num[3].bytes[3] = pos[20] ;
	configuration.VEL_U_RAMP = num[3].number;
	num[4].bytes[0] = pos[21];
	num[4].bytes[1] = pos[22];
	num[4].bytes[2] = pos[23];
	num[4].bytes[3] = pos[24];
	configuration.VEL_FILTER_Tf = num[4].number;
	num[5].bytes[0] = pos[25];
	num[5].bytes[1] = pos[26];
	num[5].bytes[2] = pos[27];
	num[5].bytes[3] = pos[28];
	configuration.Angle = num[5].number;
	configuration.Orientation = pos[29];
	configuration.NodeID = pos[30];
	taskEXIT_CRITICAL();

	/**
	 * @brief Set Board name
	 * @param Name as Char symbols
	 * @retval None
	 */
	getNode().setName("GMM_BIG_V2");

	uavcan::protocol::HardwareVersion hw_ver;
    hw_ver.major = 2;
    hw_ver.minor = 0;
    getNode().setHardwareVersion(hw_ver);
    uavcan::protocol::SoftwareVersion sw_ver;
    sw_ver.major = 2;
    sw_ver.minor = 0;
    getNode().setSoftwareVersion(sw_ver);

	/**
	 * @brief Set Board ID number
	 * @param Integer value from 0 up to 255
	 * @retval None
	 */
    taskENTER_CRITICAL();
    uint16_t ID=configuration.NodeID;
    taskEXIT_CRITICAL();
	if (ID < 0 || ID > 255) {
		getNode().setNodeID(5);
	} else {
			getNode().setNodeID(configuration.NodeID);
	}
	/**
	 * @brief Start UAVCAN protocol
	 * @retval None
	 * @note stops board if fails
	 */
	if (getNode().start() < 0) {
		//if (DEBUG_MAIN == 1) printf("UAVCAN start fail\r\n");
		while (1);
	}

    /**
     * Now, we need to define some glue logic between the server (below) and our configuration storage (above).
     * This is done via the interface uavcan::IParamManager.
     */

    class : public uavcan::IParamManager {

    	void getParamNameByIndex(Index index, Name& out_name) const override {
    		if (index == 0) { out_name = "Power On/Off"; }
            if (index == 1) { out_name = "Control Type"; }
            if (index == 2) { out_name = "Control Value"; }
            if (index == 3) { out_name = "Calibrate On/Off"; }
       		if (index == 4) { out_name = "Pole Number"; }
       		if (index == 5) { out_name = "FOC Modulation"; }
            if (index == 6) { out_name = "Velocity PID P"; }
            if (index == 7) { out_name = "Velocity PID I"; }
           	if (index == 8) { out_name = "Velocity U Ramp"; }
            if (index == 9) { out_name = "Velocity Filter Tf"; }
            if (index == 10) { out_name = "Primary angle"; }
            if (index == 11) { out_name = "Motor Pitch/Roll/Yaw"; }
            if (index == 12) { out_name = "Node ID"; }
    	}

    	void assignParamValue(const Name& name, const Value& value) override {
    		if (name == "Power On/Off") {
    			if (value.is(uavcan::protocol::param::Value::Tag::boolean_value))
    				configuration.PowerOn = *value.as<uavcan::protocol::param::Value::Tag::boolean_value>();
        	} else if (name == "Control Type") {
        		if (value.is(uavcan::protocol::param::Value::Tag::integer_value))
        			configuration.ControlType = *value.as<uavcan::protocol::param::Value::Tag::integer_value>();
        	} else if (name == "Control Value") {
        		if (value.is(uavcan::protocol::param::Value::Tag::real_value))
        			configuration.ControlValue = *value.as<uavcan::protocol::param::Value::Tag::real_value>();
        	} else if (name == "Calibrate On/Off") {
        		if (value.is(uavcan::protocol::param::Value::Tag::boolean_value))
        			configuration.Calibrate = *value.as<uavcan::protocol::param::Value::Tag::boolean_value>();
        	} else if (name == "Pole Number") {
        		if (value.is(uavcan::protocol::param::Value::Tag::integer_value))
        			configuration.PoleNumber = *value.as<uavcan::protocol::param::Value::Tag::integer_value>();
        	} else if (name == "FOC Modulation") {
        		if (value.is(uavcan::protocol::param::Value::Tag::integer_value))
        			configuration.FOCModulation = *value.as<uavcan::protocol::param::Value::Tag::integer_value>();
        	} else if (name == "Velocity PID P") {
        		if (value.is(uavcan::protocol::param::Value::Tag::real_value))
        			configuration.VEL_P = *value.as<uavcan::protocol::param::Value::Tag::real_value>();
        	} else if (name == "Velocity PID I") {
                if (value.is(uavcan::protocol::param::Value::Tag::real_value))
                	configuration.VEL_I = *value.as<uavcan::protocol::param::Value::Tag::real_value>();
        	} else if (name == "Velocity U Ramp") {
                if (value.is(uavcan::protocol::param::Value::Tag::real_value))
                	configuration.VEL_U_RAMP = *value.as<uavcan::protocol::param::Value::Tag::real_value>();
        	} else if (name == "Velocity Filter Tf") {
                if (value.is(uavcan::protocol::param::Value::Tag::real_value))
                	configuration.VEL_FILTER_Tf = *value.as<uavcan::protocol::param::Value::Tag::real_value>();
        	} else if (name == "Primary angle") {
                if (value.is(uavcan::protocol::param::Value::Tag::real_value))
                	configuration.Angle = *value.as<uavcan::protocol::param::Value::Tag::real_value>();
    		} else if (name == "Motor Pitch/Roll/Yaw") {
    			if (value.is(uavcan::protocol::param::Value::Tag::integer_value))
    				configuration.Orientation = *value.as<uavcan::protocol::param::Value::Tag::integer_value>();
    		} else if (name == "Node ID") {
    			if (value.is(uavcan::protocol::param::Value::Tag::integer_value))
    				configuration.NodeID = *value.as<uavcan::protocol::param::Value::Tag::integer_value>();
        	} //else
        		//if (DEBUG_MAIN == 1) printf("Can't assign parameter. Check if type is correct\r\n");
        }

        void readParamValue(const Name& name, Value& out_value) const override {
        	taskENTER_CRITICAL();
        	if (name == "Power On/Off")
        		out_value.to<uavcan::protocol::param::Value::Tag::boolean_value>() = configuration.PowerOn;
        	else if (name == "Control Type")
        		out_value.to<uavcan::protocol::param::Value::Tag::integer_value>() = configuration.ControlType;
        	else if (name == "Control Value")
        		out_value.to<uavcan::protocol::param::Value::Tag::real_value>() = configuration.ControlValue;
        	else if (name == "Calibrate On/Off")
            	out_value.to<uavcan::protocol::param::Value::Tag::boolean_value>() = configuration.Calibrate;
          	else if (name == "Pole Number")
          		out_value.to<uavcan::protocol::param::Value::Tag::integer_value>() = configuration.PoleNumber;
          	else if (name == "FOC Modulation")
          		out_value.to<uavcan::protocol::param::Value::Tag::integer_value>() = configuration.FOCModulation;
          	else if (name == "Velocity PID P")
          		out_value.to<uavcan::protocol::param::Value::Tag::real_value>() = configuration.VEL_P;
          	else if (name == "Velocity PID I")
          		out_value.to<uavcan::protocol::param::Value::Tag::real_value>() = configuration.VEL_I;
          	else if (name == "Velocity U Ramp")
          		out_value.to<uavcan::protocol::param::Value::Tag::real_value>() = configuration.VEL_U_RAMP;
          	else if (name == "Velocity Filter Tf")
          		out_value.to<uavcan::protocol::param::Value::Tag::real_value>() = configuration.VEL_FILTER_Tf;
          	else if (name == "Primary angle")
          		out_value.to<uavcan::protocol::param::Value::Tag::real_value>() = configuration.Angle;
          	else if (name == "Motor Pitch/Roll/Yaw")
          		out_value.to<uavcan::protocol::param::Value::Tag::integer_value>() = configuration.Orientation;
          	else if (name == "Node ID")
          		out_value.to<uavcan::protocol::param::Value::Tag::integer_value>() = configuration.NodeID;
        	//else
        		//if (DEBUG_MAIN == 1) printf("Can't read parameter. Check if type is correct\r\n");
        	taskEXIT_CRITICAL();
        }

        int saveAllParams() override {
        	//if (DEBUG_MAIN == 1) printf("Save - this implementation does not require any action\r\n");

        	xEventGroupSetBits(xMainEventGroupHandle, MAIN_EVENT_SAVE_CONFIG);/* The bits being set. */
        	osDelay(10);
        	return 0;     // Zero means that everything is fine.
        }

        int eraseAllParams() override {
        	//if (DEBUG_MAIN == 1) printf("Erase - all params reset to default values\r\n");
        	taskENTER_CRITICAL();
        	configuration = Parameters();
        	taskEXIT_CRITICAL();
        	return 0;
        }

/*
        void readParamDefaultMaxMin(const Name& name, Value& out_def, NumericValue& out_max, NumericValue& out_min) const override {
        	if (name == "Control Type") {
        		out_def.to<uavcan::protocol::param::Value::Tag::integer_value>() = Parameters().ControlType;
        		out_max.to<uavcan::protocol::param::NumericValue::Tag::integer_value>() = 2;
        		out_min.to<uavcan::protocol::param::NumericValue::Tag::integer_value>() = 0;
        	} else if (name == "Pole Number") {
        		out_def.to<uavcan::protocol::param::Value::Tag::integer_value>() = Parameters().PoleNumber;
        		out_max.to<uavcan::protocol::param::NumericValue::Tag::integer_value>() = 30;
        		out_min.to<uavcan::protocol::param::NumericValue::Tag::integer_value>() = 0;
        	} else if (name == "FOC Modulation") {
        		out_def.to<uavcan::protocol::param::Value::Tag::integer_value>() = Parameters().FOCModulation;
        		out_max.to<uavcan::protocol::param::NumericValue::Tag::integer_value>() = 1;
        		out_min.to<uavcan::protocol::param::NumericValue::Tag::integer_value>() = 0;
        	} else if (name == "Primary angle") {
        		out_def.to<uavcan::protocol::param::Value::Tag::real_value>() = Parameters().Angle;
        		out_max.to<uavcan::protocol::param::NumericValue::Tag::real_value>() = 6.28f;
        		out_min.to<uavcan::protocol::param::NumericValue::Tag::real_value>() = -6.28f;
        	} else if (name == "Motor Pitch/Roll/Yaw") {
        		out_def.to<uavcan::protocol::param::Value::Tag::integer_value>() = Parameters().Orientation;
        		out_max.to<uavcan::protocol::param::NumericValue::Tag::integer_value>() = 2;
        		out_min.to<uavcan::protocol::param::NumericValue::Tag::integer_value>() = 0;
        	} else if (name == "Node ID") {
        		out_def.to<uavcan::protocol::param::Value::Tag::integer_value>() = Parameters().NodeID;
        		out_max.to<uavcan::protocol::param::NumericValue::Tag::integer_value>() = 255;
        		out_min.to<uavcan::protocol::param::NumericValue::Tag::integer_value>() = 0;
        	//} else if (name == "text") {
        		//out_def.to<uavcan::protocol::param::Value::Tag::string_value>() = Parametrai().text.c_str();
        		//DEBUG_Printf("Limits for 'text' are not defined\r\n");
        	} else {
        		//if (DEBUG_MAIN == 1) printf("Can't read the limits for parameter\r\n");
        	}
        }
        */

    } param_manager;

    /**
     * Initializing the configuration server.
     * A pointer to the glue logic object is passed to the method start().
     */
    uavcan::ParamServer server(getNode());

    const int server_start_res = server.start(&param_manager);
    if (server_start_res < 0) {
    	//if (DEBUG_MAIN == 1) printf("Failed to start ParamServer\r\n");
    }

    /*
     * Many embedded applications require a restart before the new configuration settings can
     * be applied, so it is highly recommended to also support the remote restart service.
     */

    class : public uavcan::IRestartRequestHandler {
    	bool handleRestartRequest(uavcan::NodeID request_source) override {
    		HAL_NVIC_SystemReset(); //Ši eilutė leido realiai restartuoti
    		return true;
        }
    } restart_request_handler;

    /**
     * Installing the restart request handler.
     */
    getNode().setRestartRequestHandler(&restart_request_handler); // Done.

	//Motor status publisher
    uavcan::Publisher<msg::MotorStatus> mot_status(getNode());
	mot_status.init();
	msg::MotorStatus mot_status_msg;

	taskENTER_CRITICAL();
	uint8_t Axis = configuration.Orientation;
	taskEXIT_CRITICAL();

	//Motor Command subscibers
	uavcan::Subscriber<msg::MotorCommand> mot_sub(getNode());
    const int mot_sub_start_res = mot_sub.start(
    	[&](const uavcan::ReceivedDataStructure<msg::MotorCommand>& msg)
		{
			taskENTER_CRITICAL();
			configuration.ControlValue = msg.cmd[Axis];
			taskEXIT_CRITICAL();

		}
    );

    if (mot_sub_start_res < 0)
    {
    	//DEBUG_Printf("Failed to start the key/value subscriber\r\n");
    }

	/**
	 * @brief Start UAVCAN normal operation
	 * @retval None
	 * @note Other modes are automatically set by protocol
	 */
	getNode().setModeOperational();

	osThreadStaticDef(CANTask, StartCANStatusTask, osPriorityNormal, 0, CAN_STACK_SIZE, defaultTaskBuffer1, &defaultTaskControlBlock1);
	defaultTaskHandle = osThreadCreate(osThread(CANTask), NULL);

	/**
	 * @brief if first time or calibration needed check
	 */
	taskENTER_CRITICAL();
	bool Calib = configuration.Calibrate;
	taskEXIT_CRITICAL();

	if (Calib == true) {
		osThreadDef(MotorCalibrateTask, StartMotorCalibrateTask, osPriorityNormal, 0, 128);
		MotorCalibrateTaskHandle = osThreadCreate(osThread(MotorCalibrateTask), NULL);
		taskENTER_CRITICAL();
		configuration.Calibrate  = false;
		taskEXIT_CRITICAL();
	} else {
		/**
		 * @brief Start Motor, Encoder and FOC task
		 */
		osThreadDef(MotorTask, StartMotorTask, osPriorityNormal, 0, 128);
		defaultTaskHandle = osThreadCreate(osThread(MotorTask), NULL);
	}

	/**
	 * @brief Enable AS5048A Encoder drivers
	 */
	//angleSensor.init();

	/**
	 * @brief Start timer
	*/
	osTimerStart(BroadcastTimerHandle, 50);

	/* Infinite loop */
	for(;;)
	{
		EventBits_t main_events = xEventGroupGetBits( xMainEventGroupHandle );
		if (main_events & MAIN_EVENT_SAVE_CONFIG)
		{
			xEventGroupClearBits(xMainEventGroupHandle, MAIN_EVENT_SAVE_CONFIG );
			uint8_t pos[31]={0};
			pos[0] = configuration.PowerOn;
			pos[1] = configuration.ControlType;
			num[0].number = configuration.ControlValue;
			pos[2] =  num[0].bytes[0];
			pos[3] =  num[0].bytes[1];
			pos[4] =  num[0].bytes[2];
			pos[5] =  num[0].bytes[3];
			pos[6] = configuration.Calibrate;
			pos[7] = configuration.PoleNumber;
			pos[8] = configuration.FOCModulation;
			num[1].number = configuration.VEL_P;
			pos[9] =  num[1].bytes[0];
			pos[10] =  num[1].bytes[1];
			pos[11] =  num[1].bytes[2];
			pos[12] =  num[1].bytes[3];
			num[2].number = configuration.VEL_I;
			pos[13] =  num[2].bytes[0];
			pos[14] =  num[2].bytes[1];
			pos[15] =  num[2].bytes[2];
			pos[16] =  num[2].bytes[3];
			num[3].number = configuration.VEL_U_RAMP;
			pos[17] =  num[3].bytes[0];
			pos[18] =  num[3].bytes[1];
			pos[19] =  num[3].bytes[2];
			pos[20] =  num[3].bytes[3];
			num[4].number = configuration.VEL_FILTER_Tf;
			pos[21] =  num[4].bytes[0];
			pos[22] =  num[4].bytes[1];
			pos[23] =  num[4].bytes[2];
			pos[24] =  num[4].bytes[3];
			num[5].number = configuration.Angle;
			pos[25] =  num[5].bytes[0];
			pos[26] =  num[5].bytes[1];
			pos[27] =  num[5].bytes[2];
			pos[28] =  num[5].bytes[3];
			pos[29] = configuration.Orientation;
			pos[30] = configuration.NodeID;

			myEEPROM.writeData(pos, 0x04, 31);
			osDelay(10);
		}
		if (main_events & MAIN_EVENT_BROADCAST)
		{
			xEventGroupClearBits(xMainEventGroupHandle, MAIN_EVENT_BROADCAST );
			taskENTER_CRITICAL();
			mot_status_msg.axis_id = Axis;
			mot_status_msg.motor_pos_rad_raw = fmod(myBLDC.shaft_angle, 6.28f);
			taskEXIT_CRITICAL();
			mot_status_msg.motor_pos_rad = mot_status_msg.motor_pos_rad_raw;
			//mot_status_msg.motor_pos_rad = myBLDC.shaft_angle;
			//mot_status_msg.bus_voltage =  myINA226.readBusVoltage();
			//mot_status_msg.bus_power = myINA226.readBusPower();
			//mot_status_msg.shunt_voltage = myINA226.readShuntVoltage();
			//mot_status_msg.shunt_current = myINA226.readShuntCurrent();
			mot_status.broadcast(mot_status_msg);
		}
	    osDelay(1);
	}
  /* USER CODE END 5 */
}

 /**
  * @brief  Period elapsed callback in non blocking mode
  * @note   This function is called  when TIM1 interrupt took place, inside
  * HAL_TIM_IRQHandler(). It makes a direct call to HAL_IncTick() to increment
  * a global variable "uwTick" used as application time base.
  * @param  htim : TIM handle
  * @retval None
  */
void HAL_TIM_PeriodElapsedCallback(TIM_HandleTypeDef *htim)
{
  if (htim->Instance == TIM1) {
    HAL_IncTick();
  }
}

void Error_Handler(void)
{
  /* USER CODE BEGIN Error_Handler_Debug */
  /* User can add his own implementation to report the HAL error return state */
	/**
	 * @brief Critical error handling
	 * @retval 100ms blinking RED LED on the board
	 */
	for(;;)
	{
		HAL_GPIO_TogglePin(RED_LED_GPIO_Port, RED_LED_Pin);
		osDelay(100);
	}

  /* USER CODE END Error_Handler_Debug */
}

/************************ (C) COPYRIGHT STMicroelectronics *****END OF FILE****/
